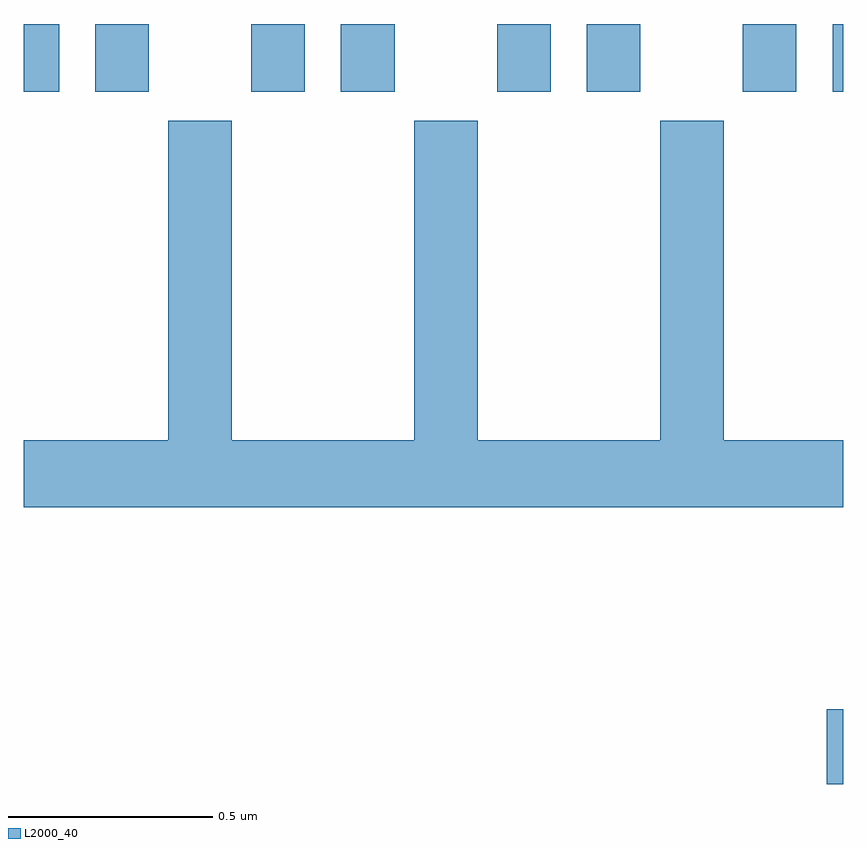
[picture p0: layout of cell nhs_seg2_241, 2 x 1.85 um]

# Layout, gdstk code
import gdstk
lib = gdstk.Library(unit=1e-6, precision=1e-09)
def R(c, l, rs):  # rectangles x0, y0, x1, y1
    for r in rs: c.add(gdstk.rectangle(r[:2], r[2:], *l))
def P(c, l, *ps):  # polygons
    for p in ps: c.add(gdstk.Polygon(p, *l))
L2000_40 = (2000, 40)

nhs_seg2_241 = lib.new_cell('nhs_seg2_241')
R(nhs_seg2_241, L2000_40, [(114.96,662.945,115,663.128), (113,664.635,113.086,664.8), (113.174,664.635,113.305,664.8), (113.555,664.635,113.686,664.8), (113.774,664.635,113.905,664.8), (114.155,664.635,114.286,664.8), (114.374,664.635,114.505,664.8), (114.755,664.635,114.886,664.8), (114.974,664.635,115,664.8)])
P(nhs_seg2_241, L2000_40, [(115,663.784),(114.708,663.784),(114.708,664.564),(114.553,664.564),(114.553,663.784),(114.108,663.784),(114.108,664.564),(113.953,664.564),(113.953,663.784),(113.508,663.784),(113.508,664.564),(113.353,664.564),(113.353,663.784),(113,663.784),(113,663.62),(115,663.62)])

lib.write_gds('nhs_seg2_241.gds')
